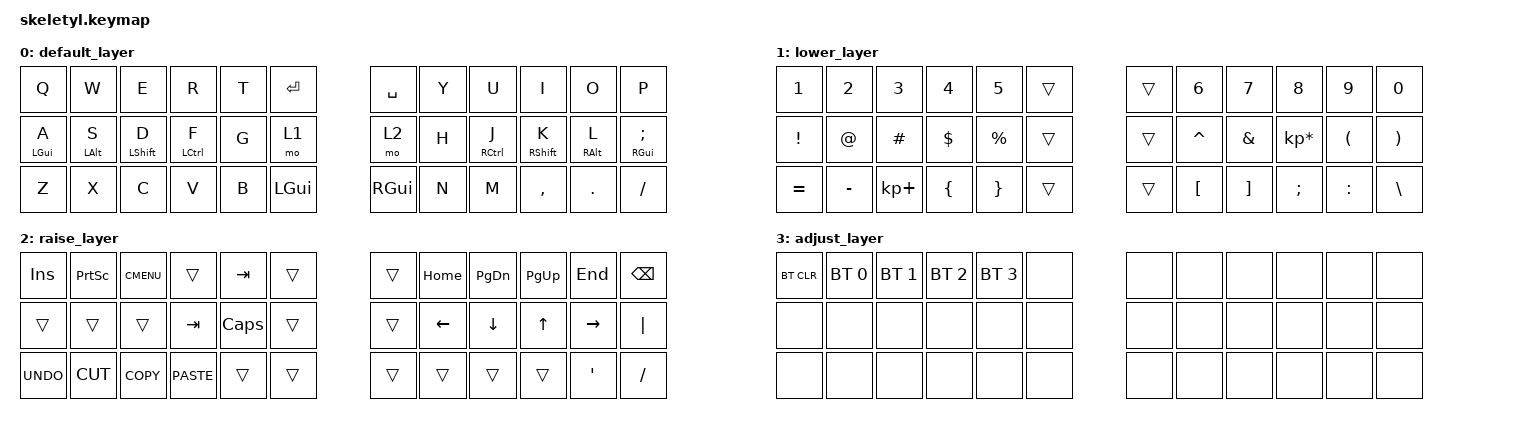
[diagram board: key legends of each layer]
/*
 * Copyright (c) 2020 The ZMK Contributors
 *
 * SPDX-License-Identifier: MIT
 */

#include <behaviors.dtsi>
#include <dt-bindings/zmk/keys.h>
#include <dt-bindings/zmk/bt.h>

/ {     
        

        combos {
                compatible = "zmk,combos";
                combo_esc {
                        timeout-ms = <50>;
                        layers = <0>;
                        key-positions = <20 21>;
                        bindings = <&kp ESC>;
                };
     
        };

        conditional_layers {
		compatible = "zmk,conditional-layers";
		adjust_layer {
			if-layers = <1 2>;
			then-layer = <3>;
		};
	};

        keymap {
                compatible = "zmk,keymap";

                default_layer {

                        bindings = <
                                &kp Q       &kp W       &kp E        &kp R        &kp T &kp ENTER       /**/    &kp SPACE &kp Y &kp U       &kp I       &kp O      &kp P   
                                &hml LGUI A &hml LALT S &hml LSHFT D &hml LCTRL F &kp G &mo 1           /**/    &mo 2     &kp H &hmr RCTRL J &hmr RSHFT K &hmr RALT L &hmr RGUI SEMI
                                &kp Z       &kp X       &kp C        &kp V        &kp B &kp LGUI        /**/    &kp RGUI  &kp N &kp M       &kp COMMA   &kp DOT    &kp FSLH

                        >;
                };
                lower_layer {
                        bindings = <
                                &kp N1    &kp N2    &kp N3      &kp N4   &kp N5    &trans  /**/  &trans   &kp N6    &kp N7   &kp N8          &kp N9    &kp N0    
                                &kp EXCL  &kp AT    &kp HASH    &kp DLLR &kp PRCNT &trans  /**/  &trans   &kp CARET &kp AMPS &kp KP_MULTIPLY &kp LPAR  &kp RPAR
			        &kp EQUAL &kp MINUS &kp KP_PLUS &kp LBRC &kp RBRC  &trans  /**/  &trans   &kp LBKT  &kp RBKT &kp SEMI        &kp COLON &kp BSLH
                        >;
                };

                raise_layer {
                        bindings = <
                                &kp INS    &kp PSCRN   &kp K_CMENU  &trans       &kp TAB  &trans  /**/    &trans &kp HOME &kp PG_DN &kp PG_UP &kp END    &kp BSPC
                                &trans     &trans      &trans       &kp TAB       &kp CLCK &trans  /**/    &trans &kp LEFT &kp DOWN  &kp UP    &kp RIGHT  &kp PIPE
                                &kp K_UNDO &kp K_CUT   &kp K_COPY   &kp K_PASTE  &trans   &trans  /**/    &trans &trans   &trans    &trans    &kp SQT    &kp SLASH
                        >;
                };

                adjust_layer {
                        bindings = <
                                &bt BT_CLR &bt BT_SEL 0 &bt BT_SEL 1 &bt BT_SEL 2 &bt BT_SEL 3 &none   /**/    &none &none &none &none &none &none
                                &none      &none        &none        &none        &none        &none   /**/    &none &none &none &none &none &none
                                &none      &none        &none        &none        &none        &none   /**/    &none &none &none &none &none &none
                        >;
                };
        };
};
